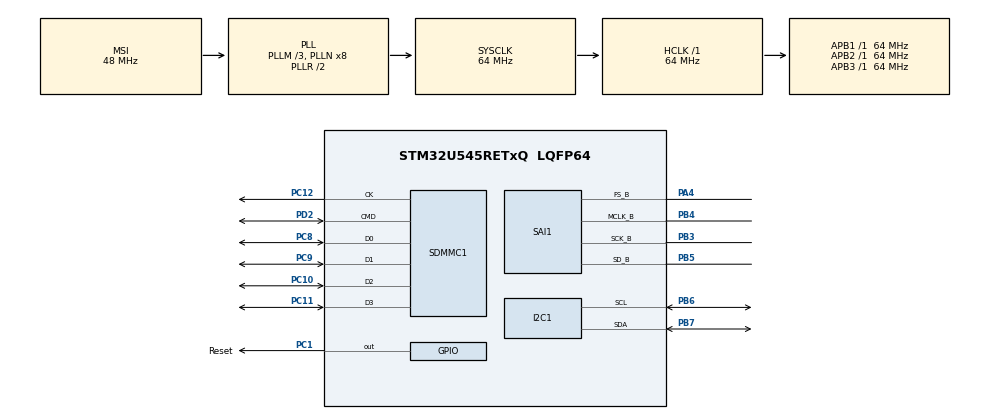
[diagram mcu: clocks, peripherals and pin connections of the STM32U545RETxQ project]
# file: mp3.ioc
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CORTEX_M33_NS.userName=CORTEX_M33
FILEX.FX_SD_INTERFACE=1
FILEX.GLUE_FUNCTIONS=DMA_API
GPDMA1.CIRCULARMODE_GPDMACH0=ENABLE
GPDMA1.DATAHANDLING_GPDMACH0=NONE
GPDMA1.DESTBURSTLENGTH_GPDMACH0=1
GPDMA1.DESTDATAWIDTH_GPDMACH0=DMA_DEST_DATAWIDTH_HALFWORD
GPDMA1.DIRECTION_GPDMACH0=DMA_MEMORY_TO_PERIPH
GPDMA1.DMAHANDLE_GPDMACH0=hdmatx
GPDMA1.IPHANDLE_GPDMACH0-SIMPLEREQUEST_GPDMACH0=__NULL
GPDMA1.LINKALLOCATEDPORT_CIRCULAR_GPDMACH0=DMA_LINK_ALLOCATED_PORT0
GPDMA1.PRIORITY_LL_CIRCULAR_GPDMACH0=DMA_LOW_PRIORITY_HIGH_WEIGHT
GPDMA1.REQUEST_GPDMACH0=GPDMA1_REQUEST_SAI1_B
GPDMA1.SRCBURSTLENGTH_GPDMACH0=1
GPDMA1.SRCDATAWIDTH_GPDMACH0=DMA_SRC_DATAWIDTH_HALFWORD
GPDMA1.SRCINC_GPDMACH0=DMA_SINC_INCREMENTED
GPDMA1.TRANSFERALLOCATEDPORTDEST_GPDMACH0=DMA_DEST_ALLOCATED_PORT1
GPDMA1.TRANSFERALLOCATEDPORTSRC_GPDMACH0=DMA_SRC_ALLOCATED_PORT0
I2C1.Timing=0x00303D5B
Linkedlist.MDMA_Channel0.GP_SW.0.ADDRESSING2D=DISABLE
Linkedlist.MDMA_Channel0.GP_SW.0.BlkHWRequest=DMA_BREQ_SINGLE_BURST
Linkedlist.MDMA_Channel0.GP_SW.0.DataHandling=NONE
Linkedlist.MDMA_Channel0.GP_SW.0.DataSize=0
Linkedlist.MDMA_Channel0.GP_SW.0.DestBurstLength=1
Linkedlist.MDMA_Channel0.GP_SW.0.DestDataWidth=DMA_DEST_DATAWIDTH_HALFWORD
Linkedlist.MDMA_Channel0.GP_SW.0.DestInc=DMA_DINC_FIXED
Linkedlist.MDMA_Channel0.GP_SW.0.Direction=DMA_MEMORY_TO_PERIPH
Linkedlist.MDMA_Channel0.GP_SW.0.DstAddress=0
Linkedlist.MDMA_Channel0.GP_SW.0.Instance=MDMA_Channel0
Linkedlist.MDMA_Channel0.GP_SW.0.LL_MASTERDMA=GPDMA2D
Linkedlist.MDMA_Channel0.GP_SW.0.LL_NAME=YourQueueName
Linkedlist.MDMA_Channel0.GP_SW.0.LL_TYPE=LINEAR
Linkedlist.MDMA_Channel0.GP_SW.0.NODE_NAME=YourNodeName
Linkedlist.MDMA_Channel0.GP_SW.0.Requestforcodegen=GPDMA1_REQUEST_SAI1_B
Linkedlist.MDMA_Channel0.GP_SW.0.SrcAddress=0
Linkedlist.MDMA_Channel0.GP_SW.0.SrcBurstLength=1
Linkedlist.MDMA_Channel0.GP_SW.0.SrcDataWidth=DMA_SRC_DATAWIDTH_HALFWORD
Linkedlist.MDMA_Channel0.GP_SW.0.SrcInc=DMA_SINC_INCREMENTED
Linkedlist.MDMA_Channel0.GP_SW.0.TransferAllocatedPortDest=DMA_DEST_ALLOCATED_PORT1
Linkedlist.MDMA_Channel0.GP_SW.0.TransferAllocatedPortSrc=DMA_SRC_ALLOCATED_PORT0
Linkedlist.MDMA_Channel0.GP_SW.0.TransferEventMode=DMA_TCEM_BLOCK_TRANSFER
Linkedlist.MDMA_Channel0.GP_SW.0.TriggerPolarity=DMA_TRIG_POLARITY_MASKED
Linkedlist.MDMA_Channel0.Request0=GP_SW
Linkedlist.MDMA_Channel0.RequestsNb=1
Linkedlist.RequestSet0=MDMA_Channel0
Linkedlist.RequestSetsNb=1
Mcu.Family=STM32U5
Mcu.Name=STM32U545RETxQ
Mcu.Package=LQFP64
NUCLEO-U545RE-Q.BUTTON=1
NUCLEO-U545RE-Q.LD2=true
NUCLEO-U545RE-Q.VCP=true
NVIC.EXTI13_IRQn=true\:0\:0\:false\:false\:true\:false\:true\:true
NVIC.GPDMA1_Channel0_IRQn=true\:0\:0\:false\:false\:true\:false\:true\:true
NVIC.PriorityGroup=NVIC_PRIORITYGROUP_4
NVIC.SDMMC1_IRQn=true\:0\:0\:false\:false\:true\:true\:true\:true
NVIC.TIM1_UP_IRQn=true\:15\:0\:false\:false\:true\:false\:true\:true
NVIC.TimeBase=TIM1_UP_IRQn
NVIC.TimeBaseIP=TIM1
PA4.Mode=SAI_B_MasterWithClock
PA4.Signal=SAI1_FS_B
PB3\ (JTDO/TRACESWO).Mode=SAI_B_MasterWithClock
PB3\ (JTDO/TRACESWO).Signal=SAI1_SCK_B
PB4\ (NJTRST).Mode=SAI_B_MasterWithClock
PB4\ (NJTRST).Signal=SAI1_MCLK_B
PB5.Mode=SAI_B_MasterWithClock
PB5.Signal=SAI1_SD_B
PB6.Mode=I2C
PB6.Signal=I2C1_SCL
PB7.Mode=I2C
PB7.Signal=I2C1_SDA
PC1.GPIO_Label=Reset
PC1.PinState=GPIO_PIN_SET
PC1.Signal=GPIO_Output
PC10.Mode=SD_4_bits_Wide_bus
PC10.Signal=SDMMC1_D2
PC11.Mode=SD_4_bits_Wide_bus
PC11.Signal=SDMMC1_D3
PC12.Mode=SD_4_bits_Wide_bus
PC12.Signal=SDMMC1_CK
PC8.Mode=SD_4_bits_Wide_bus
PC8.Signal=SDMMC1_D0
PC9.Mode=SD_4_bits_Wide_bus
PC9.Signal=SDMMC1_D1
PD2.Mode=SD_4_bits_Wide_bus
PD2.Signal=SDMMC1_CMD
PWR.PowerMode=PWR_SMPS_SUPPLY
ProjectManager.HeapSize=0x200
ProjectManager.StackSize=0x400
ProjectManager.TargetToolchain=CMake
RCC.ADCFreq_Value=16000000
RCC.AHBFreq_Value=64000000
RCC.APB1Freq_Value=64000000
RCC.APB1TimFreq_Value=64000000
RCC.APB2Freq_Value=64000000
RCC.APB2TimFreq_Value=64000000
RCC.APB3Freq_Value=64000000
RCC.CortexFreq_Value=64000000
RCC.DACCLockSelectionVirtual=RCC_DAC1CLKSOURCE_LSI
RCC.DACCLockSelectionVirtualString=RCC_DAC1CLKSOURCE_LSI
RCC.EPOD_VALUE=48000000
RCC.HCLKFreq_Value=64000000
RCC.HSE_VALUE=16000000
RCC.HSI48_VALUE=48000000
RCC.HSI_VALUE=16000000
RCC.I2C1CLockSelection=RCC_I2C1CLKSOURCE_HSI
RCC.LSE_VALUE=32768
RCC.LSIDIV_VALUE=32000
RCC.MSIClockRange=RCC_MSIRANGE_0
RCC.MSI_VALUE=48000000
RCC.PLL1P=8
RCC.PLL2FRACN=0
RCC.PLL2M=3
RCC.PLL2N=12
RCC.PLL2P=17
RCC.PLLFRACN=0
RCC.PLLM=3
RCC.PLLN=8
RCC.SYSCLKFreq_VALUE=64000000
RCC.SYSCLKSource=RCC_SYSCLKSOURCE_PLLCLK
RCC.USBFreq_Value=48000000
RCC.VCOOutputFreq_Value=128000000
SAI1.AudioFrequency-SAI_B_MasterWithClock=SAI_AUDIO_FREQUENCY_44K
SAI1.ErrorAudioFreq-SAI_B_MasterWithClock=0.03 %
SAI1.InitProtocol-SAI_B_MasterWithClock=Enable
SAI1.Instance-SAI_B_MasterWithClock=SAI$Index_Block_B
SAI1.MckOutput-SAI_B_MasterWithClock=SAI_MCK_OUTPUT_ENABLE
SAI1.RealAudioFreq-SAI_B_MasterWithClock=44.117 KHz
SAI1.VirtualMode-SAI_B_MasterWithClock=VM_MASTER
SAI1.VirtualProtocol-SAI_B_BASIC=VM_BASIC_PROTOCOL
SDMMC1.ClockDiv=2
VP_FILEX_VS_FileOoSystemJjFileXJjCore.Mode=FileX_Core
VP_FILEX_VS_SDOointerface.Mode=SD_interface
VP_GPDMA1_VS_GPDMACH0.Mode=SIMPLEREQUEST_GPDMACH0
VP_ICACHE_VS_ICACHE.Mode=DirectMappedCache
VP_LPBAMQUEUE_VS_QUEUE.Mode=QUEUEMODE
VP_MEMORYMAP_VS_MEMORYMAP.Mode=CurAppReg
VP_NUCLEO-U545RE-Q_VS_BSP_COMMON.Mode=COMMON
VP_PWR_VS_LPOM.Mode=PowerOptimisation
VP_PWR_VS_SECSignals.Mode=Security/Privilege
VP_SAI1_VP_$IpInstance_SAIB_SAI_BASIC.Mode=SAI_B_BASIC
VP_SYS_VS_tim1.Mode=TIM1
board=NUCLEO-U545RE-Q

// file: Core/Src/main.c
/* USER CODE BEGIN Header */
/**
  ******************************************************************************
  * @file           : main.c
  * @brief          : Main program body
  ******************************************************************************
  * @attention
  *
  * Copyright (c) 2026 STMicroelectronics.
  * All rights reserved.
  *
  * This software is licensed under terms that can be found in the LICENSE file
  * in the root directory of this software component.
  * If no LICENSE file comes with this software, it is provided AS-IS.
  *
  ******************************************************************************
  */
/* USER CODE END Header */
#include "main.h"
#include "app_filex.h"
#include "gpdma.h"
#include "i2c.h"
#include "icache.h"
#include "sai.h"
#include "sdmmc.h"
#include "gpio.h"

/* USER CODE BEGIN Includes */
#include "string.h"
#include "stdio.h"
#include "tlv3100.h"

/* USER CODE END Includes */

/* USER CODE BEGIN PM */

#define SINE_SAMPLES 48  // 48 samples per cycle

const int16_t SineWave_Buffer[SINE_SAMPLES * 2] = {
    0, 0, 3977, 3977, 7887, 7887, 11663, 11663, 15239, 15239, 18643, 18643,
    21811, 21811, 24680, 24680, 27192, 27192, 29298, 29298, 30952, 30952, 32120, 32120,
    32767, 32767, 32120, 32120, 30952, 30952, 29298, 29298, 27192, 27192, 24680, 24680,
    21811, 21811, 18643, 18643, 15239, 15239, 11663, 11663, 7887, 7887, 3977, 3977,
    0, 0, -3977, -3977, -7887, -7887, -11663, -11663, -15239, -15239, -18643, -18643,
    -21811, -21811, -24680, -24680, -27192, -27192, -29298, -29298, -30952, -30952, -32120, -32120,
    -32767, -32767, -32120, -32120, -30952, -30952, -29298, -29298, -27192, -27192, -24680, -24680,
    -21811, -21811, -18643, -18643, -15239, -15239, -11663, -11663, -7887, -7887, -3977, -3977
};

/* USER CODE END PM */

COM_InitTypeDef BspCOMInit;

void SystemClock_Config(void);
static void SystemPower_Config(void);

int main(void)
{

  /* MCU Configuration--------------------------------------------------------*/

  /* Reset of all peripherals, Initializes the Flash interface and the Systick. */
  HAL_Init();

  /* Configure the System Power */
  SystemPower_Config();

  /* Configure the system clock */
  SystemClock_Config();

  /* Initialize all configured peripherals */
  MX_GPIO_Init();
  MX_GPDMA1_Init();
  MX_ICACHE_Init();
  MX_SAI1_Init();
  MX_I2C1_Init();
  MX_SDMMC1_SD_Init();
  MX_FileX_Init();
  /* USER CODE BEGIN 2 */
  HAL_GPIO_WritePin(Reset_GPIO_Port, Reset_Pin, GPIO_PIN_RESET);
  HAL_Delay(10); // Hold reset for 10ms

  // Pull PC5 HIGH to bring the DAC out of reset
  HAL_GPIO_WritePin(Reset_GPIO_Port, Reset_Pin, GPIO_PIN_SET);
  HAL_Delay(10); // Give the DAC 10ms to boot up before sending I2C commands

  DAC3100_Init(&hi2c1);
  HAL_SAI_Transmit_DMA(&hsai_BlockB1, (uint8_t*)SineWave_Buffer, SINE_SAMPLES * 2);
  HAL_Delay(10);

  /* USER CODE END 2 */

  /* Initialize led */
  BSP_LED_Init(LED_GREEN);

  /* Initialize USER push-button, will be used to trigger an interrupt each time it's pressed.*/
  BSP_PB_Init(BUTTON_USER, BUTTON_MODE_EXTI);

  /* Initialize COM1 port (115200, 8 bits (7-bit data + 1 stop bit), no parity */
  BspCOMInit.BaudRate   = 115200;
  BspCOMInit.WordLength = COM_WORDLENGTH_8B;
  BspCOMInit.StopBits   = COM_STOPBITS_1;
  BspCOMInit.Parity     = COM_PARITY_NONE;
  BspCOMInit.HwFlowCtl  = COM_HWCONTROL_NONE;
  if (BSP_COM_Init(COM1, &BspCOMInit) != BSP_ERROR_NONE)
  {
    Error_Handler();
  }

  /* Infinite loop */
  while (1)
  {

  }
}

void SystemClock_Config(void)
{
  RCC_OscInitTypeDef RCC_OscInitStruct = {0};
  RCC_ClkInitTypeDef RCC_ClkInitStruct = {0};

  /** Configure the main internal regulator output voltage
  */
  if (HAL_PWREx_ControlVoltageScaling(PWR_REGULATOR_VOLTAGE_SCALE2) != HAL_OK)
  {
    Error_Handler();
  }

  /** Initializes the CPU, AHB and APB buses clocks
  */
  RCC_OscInitStruct.OscillatorType = RCC_OSCILLATORTYPE_HSI|RCC_OSCILLATORTYPE_MSI;
  RCC_OscInitStruct.HSIState = RCC_HSI_ON;
  RCC_OscInitStruct.HSICalibrationValue = RCC_HSICALIBRATION_DEFAULT;
  RCC_OscInitStruct.MSIState = RCC_MSI_ON;
  RCC_OscInitStruct.MSICalibrationValue = RCC_MSICALIBRATION_DEFAULT;
  RCC_OscInitStruct.MSIClockRange = RCC_MSIRANGE_0;
  RCC_OscInitStruct.PLL.PLLState = RCC_PLL_ON;
  RCC_OscInitStruct.PLL.PLLSource = RCC_PLLSOURCE_MSI;
  RCC_OscInitStruct.PLL.PLLMBOOST = RCC_PLLMBOOST_DIV4;
  RCC_OscInitStruct.PLL.PLLM = 3;
  RCC_OscInitStruct.PLL.PLLN = 8;
  RCC_OscInitStruct.PLL.PLLP = 8;
  RCC_OscInitStruct.PLL.PLLQ = 2;
  RCC_OscInitStruct.PLL.PLLR = 2;
  RCC_OscInitStruct.PLL.PLLRGE = RCC_PLLVCIRANGE_1;
  RCC_OscInitStruct.PLL.PLLFRACN = 0;
  if (HAL_RCC_OscConfig(&RCC_OscInitStruct) != HAL_OK)
  {
    Error_Handler();
  }

  /** Initializes the CPU, AHB and APB buses clocks
  */
  RCC_ClkInitStruct.ClockType = RCC_CLOCKTYPE_HCLK|RCC_CLOCKTYPE_SYSCLK
                              |RCC_CLOCKTYPE_PCLK1|RCC_CLOCKTYPE_PCLK2
                              |RCC_CLOCKTYPE_PCLK3;
  RCC_ClkInitStruct.SYSCLKSource = RCC_SYSCLKSOURCE_PLLCLK;
  RCC_ClkInitStruct.AHBCLKDivider = RCC_SYSCLK_DIV1;
  RCC_ClkInitStruct.APB1CLKDivider = RCC_HCLK_DIV1;
  RCC_ClkInitStruct.APB2CLKDivider = RCC_HCLK_DIV1;
  RCC_ClkInitStruct.APB3CLKDivider = RCC_HCLK_DIV1;

  if (HAL_RCC_ClockConfig(&RCC_ClkInitStruct, FLASH_LATENCY_2) != HAL_OK)
  {
    Error_Handler();
  }
}

/**
  * @brief Power Configuration
  * @retval None
  */
static void SystemPower_Config(void)
{

  /*
   * Switch to SMPS regulator instead of LDO
   */
  if (HAL_PWREx_ConfigSupply(PWR_SMPS_SUPPLY) != HAL_OK)
  {
    Error_Handler();
  }
}

void HAL_TIM_PeriodElapsedCallback(TIM_HandleTypeDef *htim)
{
  if (htim->Instance == TIM1)
  {
    HAL_IncTick();
  }
}

void Error_Handler(void)
{
  __disable_irq();
  while (1)
  {
  }
}
